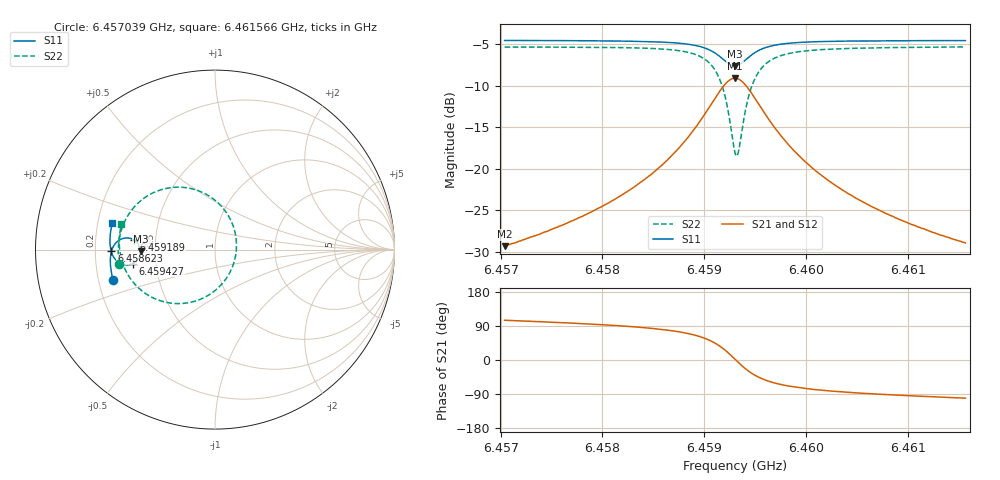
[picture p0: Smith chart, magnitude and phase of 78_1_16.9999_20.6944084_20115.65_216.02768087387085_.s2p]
#  HZ  S  RI  R  50.00
! Rohde & Schwarz Vector Network Analyzer
! Rohde-Schwarz,ZNB20-2Port,1311601062101988,3.16
! Created: UTC 3/20/2024, 10:55:36 PM
! freq[Hz]  re:S11  im:S11  re:S21  im:S21  re:S12  im:S12  re:S22  im:S22
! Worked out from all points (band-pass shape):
!   401 points, 6.457039 GHz to 6.461566 GHz, reference 50 ohm
!   highest |S21| = -9.10 dB at 6.459302 GHz (marker M1); lowest = -29.3 dB at 6.457039 GHz (marker M2)
!   |S21| within 3 dB of the highest: 6.459076 GHz to 6.459528 GHz (452.7 kHz wide, 0.00701 % of centre)
!   lowest |S11| = -7.6 dB at 6.459302 GHz (marker M3), VSWR 2.42, Z = 20.7 - j0.52 ohm
!   |S11| at or under -10 dB: nowhere
!   |S22| runs from -18.5 to -5.3 dB; largest |S21 - S12| = 0.014
!   S11 on the Smith chart (normalised r, x): 6.457039 GHz: 0.26, -0.14; 6.458623 GHz: 0.27, -0.01; 6.459189 GHz: 0.38, +0.05; 6.459427 GHz: 0.37, -0.07; 6.461566 GHz: 0.26, +0.12
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6.4570386e9  -0.5674 -0.1688  -0.00875 0.033  -0.00702 0.033  -0.5344 -0.0785
6.457797e9  -0.5808 -0.1022  -0.00535 0.0511  -0.00278 0.0506  -0.5388 0.0113
6.4582271e9  -0.5834 -0.0586  0.00107 0.0717  0.00437 0.0703  -0.5293 0.0806
6.4585553e9  -0.5794 -0.0189  0.015 0.1002  0.0189 0.0974  -0.5034 0.1564
6.4586232e9  -0.5771 -0.00941  0.0205 0.1087  0.0245 0.1055  -0.4933 0.1764
6.4588156e9  -0.5641 0.0211  0.0475 0.1399  0.0516 0.1349  -0.4424 0.2458
6.4589628e9  -0.5411 0.0475  0.0937 0.1707  0.0968 0.1639  -0.3573 0.3102
6.4590986e9  -0.4964 0.065  0.1823 0.1871  0.1832 0.1798  -0.1954 0.3478
6.4591892e9  -0.4511 0.054  0.2734 0.1548  0.2736 0.149  -0.0273 0.295
6.4592571e9  -0.4216 0.0212  0.3342 0.0814  0.3366 0.0762  0.0886 0.1624
6.4593023e9  -0.4147 -0.0104  0.3505 0.0123  0.3542 0.00538  0.1196 0.0334
6.4593363e9  -0.4189 -0.0344  0.3441 -0.0407  0.3482 -0.0499  0.1071 -0.0672
6.4593816e9  -0.4349 -0.0612  0.3148 -0.1013  0.3171 -0.1133  0.0475 -0.181
6.4594268e9  -0.4574 -0.0777  0.272 -0.1424  0.2711 -0.1559  -0.0393 -0.2558
6.4595174e9  -0.5013 -0.0848  0.1859 -0.1735  0.1797 -0.1853  -0.2104 -0.301
6.4595853e9  -0.526 -0.0774  0.1371 -0.1714  0.129 -0.1802  -0.3045 -0.2851
6.4596645e9  -0.5457 -0.0642  0.097 -0.1592  0.0885 -0.1654  -0.3792 -0.2499
6.459823e9  -0.5677 -0.0366  0.0519 -0.1307  0.044 -0.1333  -0.4599 -0.1767
6.4600607e9  -0.5806 -0.00109  0.0225 -0.0986  0.0165 -0.0991  -0.5079 -0.0936
6.4604229e9  -0.5855 0.0422  0.00569 -0.0699  0.00166 -0.0695  -0.5299 -0.00988
6.460819e9  -0.5836 0.0821  -0.00143 -0.0525  -0.00436 -0.0517  -0.5333 0.0538
6.4615661e9  -0.572 0.1486  -0.00663 -0.0351  -0.00825 -0.0341  -0.5221 0.1431
